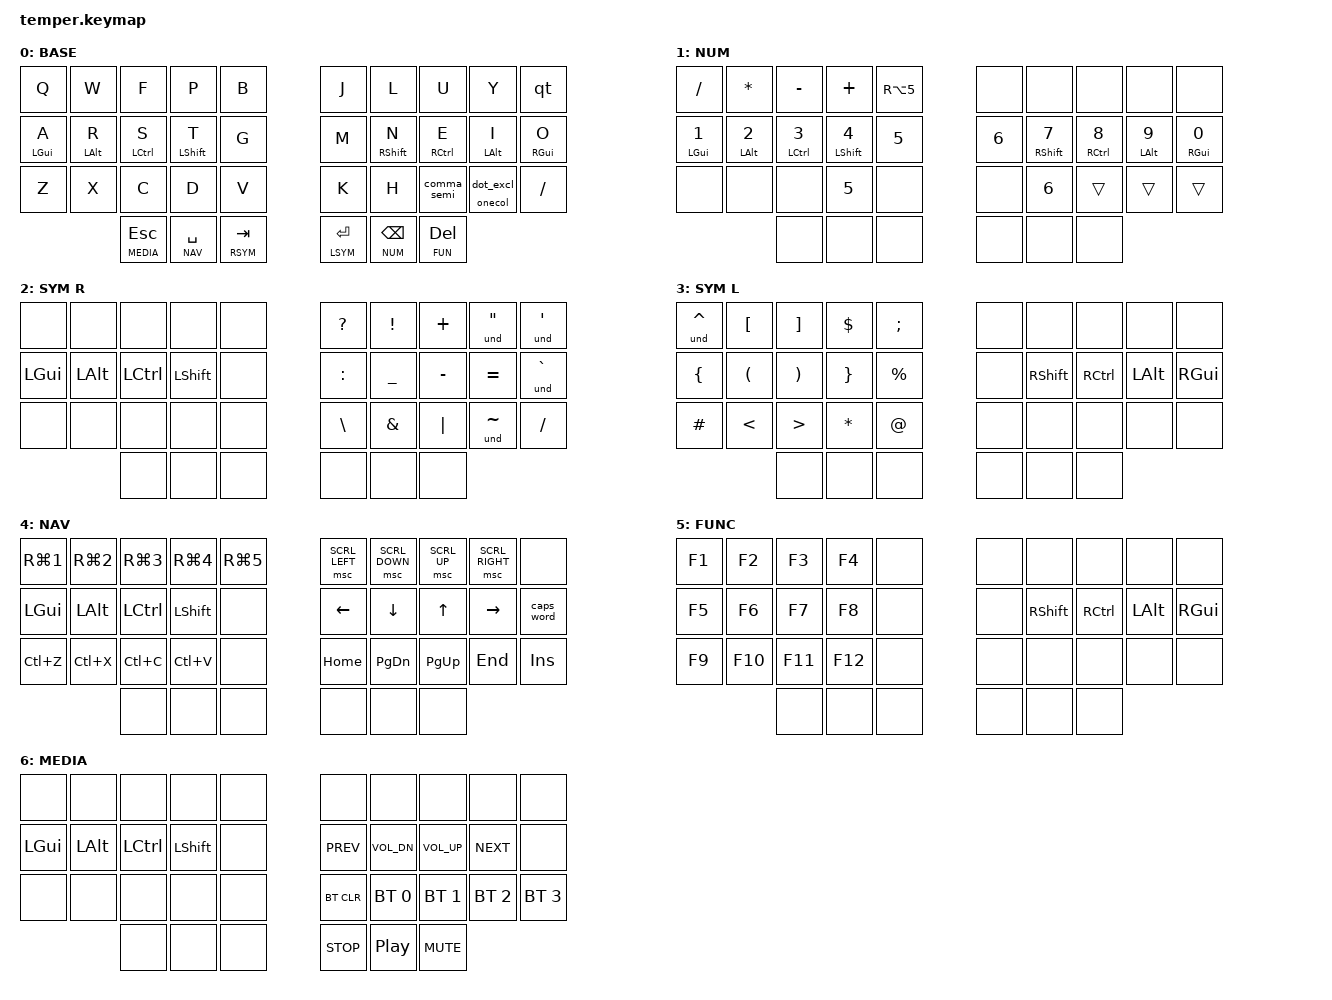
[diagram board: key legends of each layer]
/*
 * Copyright (c) 2020 The ZMK Contributors
 *
 * SPDX-License-Identifier: MIT
 */

#include <behaviors.dtsi>
#include <dt-bindings/zmk/keys.h>
#include <dt-bindings/zmk/bt.h>
#include <dt-bindings/zmk/outputs.h>
#include <dt-bindings/zmk/pointing.h>

#define DEFAULT 0
#define NUM 1
#define RSYM 2
#define LSYM 3
#define NAV 4
#define FUN 5
#define MEDIA 6

# define ______ &none
/ {
    /* conditional_layers { */
    /*     compatible = "zmk,conditional-layers"; */
    /*     tri_layer { */
    /*         if-layers = <NUM NAV>; */
    /*         then-layer = <FUN>; */
    /*     }; */
    /* }; */
    combos {
        compatible = "zmk,combos";
        combo_semi {
            timeout-ms = <30>;
            key-positions = <27 28>;
            bindings = <&kp SEMI>;
        };
        combo_agrv {
            timeout-ms = <30>;
            key-positions = <10 26>;
            bindings = <&engr A>;
        };
        combo_egrv {
            timeout-ms = <30>;
            key-positions = <17 23>;
            bindings = <&engr E>;
        };
        combo_eacute {
            timeout-ms = <30>;
            key-positions = <17 26>;
            bindings = <&eacute>;
        };
        combo_igrv {
            timeout-ms = <30>;
            key-positions = <18 23>;
            bindings = <&engr I>;
        };
        combo_ogrv {
            timeout-ms = <30>;
            key-positions = <19 23>;
            bindings = <&engr O>;
        };
        combo_ugrv {
            timeout-ms = <30>;
            key-positions = <7 23>;
            bindings = <&engr U>;
        };
    };
    macros {
        und: undead {
            compatible = "zmk,behavior-macro-one-param";
            wait-ms = <0>;
            tap-ms = <0>;
            #binding-cells = <1>;
            bindings
                = <&macro_tap &macro_param_1to1 &kp MACRO_PLACEHOLDER>
                , <&macro_tap &kp SPACE>
                ;
        };
        onecol: onecol {
            compatible = "zmk,behavior-macro";
            #binding-cells = <0>;
            bindings
                = <&macro_tap &kp COLON>
                , <&macro_release &kp COLON>
                ;
        };
        engr: engrave {
            compatible = "zmk,behavior-macro-one-param";
            #binding-cells = <1>;
            bindings
                = <&macro_tap &kp GRAVE>
                , <&macro_tap &macro_param_1to1 &kp MACRO_PLACEHOLDER>
                ;
        };
        eacute: eacute {
            compatible = "zmk,behavior-macro";
            #binding-cells = <0>;
            bindings
                = <&macro_tap &kp SQT>
                , <&macro_tap &kp E>
                ;
        };
    };
    behaviors {
        comma_semi: comma_semi {
            compatible = "zmk,behavior-mod-morph";
            #binding-cells = <0>;
            bindings = <&kp COMMA>, <&kp SEMI>;
            mods = <(MOD_LSFT)>;
        };
        multi_dot: multi_dot {
            compatible = "zmk,behavior-hold-tap";
            #binding-cells = <2>;
            flavor = "hold-preferred";
            quick-tap-ms = <0>;
            tapping-term-ms = <200>;
            bindings = <&onecol>, <&dot_excl>;
        };
        dot_excl: dot_excl {
            compatible = "zmk,behavior-mod-morph";
            #binding-cells = <0>;
            bindings = <&kp DOT>, <&kp EXCL>;
            mods = <(MOD_LSFT)>;
        };
        ltr: layer_tap_repeat {
          compatible = "zmk,behavior-hold-tap";
          #binding-cells = <2>;
          flavor = "tap-preferred";
          tapping-term-ms = <200>;
          require-prior-idle-ms = <200>;
          quick-tap-ms = <175>;
          bindings = <&mo>, <&kp>;
          display-name = "Layer-Tap-Repeat";
        };
        hml: home_row_mod_left {
            compatible = "zmk,behavior-hold-tap";
            #binding-cells = <2>;
            flavor = "balanced";
            require-prior-idle-ms = <150>;
            tapping-term-ms = <280>;
            quick-tap-ms = <175>;
            bindings = <&kp>, <&kp>;
            hold-trigger-key-positions = < 5 6 7 8 9 15 16 17 18 19 25 26 27 28 29 30 31 32 33 34 35 >; // List of keys on the right side of the keyboard
            hold-trigger-on-release;
        };
        hmr: home_row_mod_right {
            compatible = "zmk,behavior-hold-tap";
            #binding-cells = <2>;
            flavor = "balanced";
            require-prior-idle-ms = <150>;
            tapping-term-ms = <280>;
            quick-tap-ms = <175>;
            bindings = <&kp>, <&kp>;
            hold-trigger-key-positions = < 0 1 2 3 4 10 11 12 13 14 20 21 22 23 24 30 31 32 33 34 35 >; // List of keys on the left side of the keyboard
            hold-trigger-on-release;
        };
        qt: quotes {
            compatible = "zmk,behavior-tap-dance";
            #binding-cells = <0>;
            bindings = <&und SQT>, <&und DQT>;
            };
    };
        keymap {
                compatible = "zmk,keymap";

                default_layer {
                        display-name = "BASE";
                        bindings = <
//    ┌─────────────┬─────────────┬──────────────┬─────────────┬───────────────┐   ┌───────────────┬──────────────┬─────────────┬────────────────┬─────────────┐
//    │      Q      │      W      │      F       │      P      │       B       │   │       J       │      L       │      U      │       Y        │     &qt     │
//    ├─────────────┼─────────────┼──────────────┼─────────────┼───────────────┤   ├───────────────┼──────────────┼─────────────┼────────────────┼─────────────┤
//    │ &hml lgui A │ &hml lalt R │ &hml lctl S  │ &hml lsft T │       G       │   │       M       │ &hmr rsft N  │ &hmr rctl E │  &hmr lalt I   │ &hmr rgui O │
//    ├─────────────┼─────────────┼──────────────┼─────────────┼───────────────┤   ├───────────────┼──────────────┼─────────────┼────────────────┼─────────────┤
//    │      Z      │      X      │      C       │      D      │       V       │   │       K       │      H       │ &comma_semi │ &multi_dot 0 0 │      /      │
//    └─────────────┴─────────────┼──────────────┼─────────────┼───────────────┤   ├───────────────┼──────────────┼─────────────┼────────────────┴─────────────┘
//                                │ lt MEDIA esc │ lt NAV spc  │ lt rsftYM tab │   │ lt lsftYM ent │ ltr NUM bspc │ lt FUN del  │
//                                └──────────────┴─────────────┴───────────────┘   └───────────────┴──────────────┴─────────────┘
  &kp Q         &kp W         &kp F           &kp P           &kp B              &kp J          &kp L           &kp U          &kp Y            &qt
  &hml LGUI A   &hml LALT R   &hml LCTRL S    &hml LSHFT T    &kp G              &kp M          &hmr RSHFT N    &hmr RCTRL E   &hmr LALT I      &hmr RGUI O
  &kp Z         &kp X         &kp C           &kp D           &kp V              &kp K          &kp H           &comma_semi    &multi_dot 0 0   &kp SLASH
                              &lt MEDIA ESC   &lt NAV SPACE   &lt RSYM TAB       &lt LSYM RET   &ltr NUM BSPC   &lt FUN DEL
                        >;
                };
                num_layer {
                        display-name = "NUM";
                        bindings = <
//    ┌─────────────┬─────────────┬─────────────┬─────────────┬─────────┐   ┌────────┬─────────────┬─────────────┬─────────────┬─────────────┐
//    │      /      │      *      │      -      │      +      │ ralt(5) │   │ ______ │   ______    │   ______    │   ______    │   ______    │
//    ├─────────────┼─────────────┼─────────────┼─────────────┼─────────┤   ├────────┼─────────────┼─────────────┼─────────────┼─────────────┤
//    │ &hml lgui 1 │ &hml lalt 2 │ &hml lctl 3 │ &hml lsft 4 │    5    │   │   6    │ &hmr rsft 7 │ &hmr rctl 8 │ &hmr lalt 9 │ &hmr rgui 0 │
//    ├─────────────┼─────────────┼─────────────┼─────────────┼─────────┤   ├────────┼─────────────┼─────────────┼─────────────┼─────────────┤
//    │   ______    │   ______    │   ______    │      5      │ ______  │   │ ______ │      6      │             │             │             │
//    └─────────────┴─────────────┼─────────────┼─────────────┼─────────┤   ├────────┼─────────────┼─────────────┼─────────────┴─────────────┘
//                                │   ______    │   ______    │ ______  │   │ ______ │   ______    │   ______    │
//                                └─────────────┴─────────────┴─────────┘   └────────┴─────────────┴─────────────┘
  &kp SLASH      &kp STAR       &kp MINUS       &kp PLUS        &kp RA(N5)       ______   ______          ______          ______         ______
  &hml LGUI N1   &hml LALT N2   &hml LCTRL N3   &hml LSHFT N4   &kp N5           &kp N6   &hmr RSHFT N7   &hmr RCTRL N8   &hmr LALT N9   &hmr RGUI N0
  ______         ______         ______          &kp N5          ______           ______   &kp N6          &trans          &trans         &trans
                                ______          ______          ______           ______   ______          ______
                        >;
                };

                rsym_layer {
                        display-name = "SYM R";
                        bindings = <
//    ┌────────┬────────┬────────┬────────┬────────┐   ┌────────┬────────┬────────┬────────┬────────┐
//    │ ______ │ ______ │ ______ │ ______ │ ______ │   │   ?    │   !    │   +    │ &und " │ &und ' │
//    ├────────┼────────┼────────┼────────┼────────┤   ├────────┼────────┼────────┼────────┼────────┤
//    │  lgui  │  lalt  │  lctl  │  lsft  │ ______ │   │   :    │   _    │   -    │   =    │ &und ` │
//    ├────────┼────────┼────────┼────────┼────────┤   ├────────┼────────┼────────┼────────┼────────┤
//    │ ______ │ ______ │ ______ │ ______ │ ______ │   │   \    │   &    │   |    │ &und ~ │   /    │
//    └────────┴────────┼────────┼────────┼────────┤   ├────────┼────────┼────────┼────────┴────────┘
//                      │ ______ │ ______ │ ______ │   │ ______ │ ______ │ ______ │
//                      └────────┴────────┴────────┘   └────────┴────────┴────────┘
  ______     ______     ______      ______      ______       &kp QMARK   &kp EXCL    &kp PLUS    &und DQT     &und SQT
  &kp LGUI   &kp LALT   &kp LCTRL   &kp LSHFT   ______       &kp COLON   &kp UNDER   &kp MINUS   &kp EQUAL    &und GRAVE
  ______     ______     ______      ______      ______       &kp BSLH    &kp AMPS    &kp PIPE    &und TILDE   &kp SLASH
                        ______      ______      ______       ______      ______      ______
                        >;
                };

                lsym_layer {
                        display-name = "SYM L";
                        bindings = <
//    ┌────────┬───┬────────┬────────┬────────┐   ┌────────┬────────┬────────┬────────┬────────┐
//    │ &und ^ │ [ │   ]    │   $    │   ;    │   │ ______ │ ______ │ ______ │ ______ │ ______ │
//    ├────────┼───┼────────┼────────┼────────┤   ├────────┼────────┼────────┼────────┼────────┤
//    │   {    │ ( │   )    │   }    │   %    │   │ ______ │  rsft  │  rctl  │  lalt  │  rgui  │
//    ├────────┼───┼────────┼────────┼────────┤   ├────────┼────────┼────────┼────────┼────────┤
//    │   #    │ < │   >    │   *    │   @    │   │ ______ │ ______ │ ______ │ ______ │ ______ │
//    └────────┴───┼────────┼────────┼────────┤   ├────────┼────────┼────────┼────────┴────────┘
//                 │ ______ │ ______ │ ______ │   │ ______ │ ______ │ ______ │
//                 └────────┴────────┴────────┘   └────────┴────────┴────────┘
  &und CARET   &kp LBKT   &kp RBKT   &kp DLLR   &kp SEMI        ______   ______      ______      ______     ______
  &kp LBRC     &kp LPAR   &kp RPAR   &kp RBRC   &kp PRCNT       ______   &kp RSHFT   &kp RCTRL   &kp LALT   &kp RGUI
  &kp HASH     &kp LT     &kp GT     &kp STAR   &kp AT          ______   ______      ______      ______     ______
                          ______     ______     ______          ______   ______      ______
                        >;
                };

                nav_layer {
                        display-name = "NAV";
                        bindings = <
//    ┌─────────┬─────────┬─────────┬─────────┬─────────┐   ┌────────────────┬────────────────┬──────────────┬────────────────┬────────┐
//    │ rgui(1) │ rgui(2) │ rgui(3) │ rgui(4) │ rgui(5) │   │ &msc SCRL_left │ &msc SCRL_down │ &msc SCRL_up │ &msc SCRL_rght │ ______ │
//    ├─────────┼─────────┼─────────┼─────────┼─────────┤   ├────────────────┼────────────────┼──────────────┼────────────────┼────────┤
//    │  lgui   │  lalt   │  lctl   │  lsft   │ ______  │   │      left      │      down      │      up      │      rght      │ capsw  │
//    ├─────────┼─────────┼─────────┼─────────┼─────────┤   ├────────────────┼────────────────┼──────────────┼────────────────┼────────┤
//    │ lctl(Z) │ lctl(X) │ lctl(C) │ lctl(V) │ ______  │   │      home      │      pgdn      │     pgup     │      end       │  ins   │
//    └─────────┴─────────┼─────────┼─────────┼─────────┤   ├────────────────┼────────────────┼──────────────┼────────────────┴────────┘
//                        │ ______  │ ______  │ ______  │   │     ______     │     ______     │    ______    │
//                        └─────────┴─────────┴─────────┘   └────────────────┴────────────────┴──────────────┘
  &kp RG(N1)   &kp RG(N2)   &kp RG(N3)   &kp RG(N4)   &kp RG(N5)       &msc SCRL_LEFT   &msc SCRL_DOWN   &msc SCRL_UP   &msc SCRL_RIGHT   ______
  &kp LGUI     &kp LALT     &kp LCTRL    &kp LSHFT    ______           &kp LEFT         &kp DOWN         &kp UP         &kp RIGHT         &caps_word
  &kp LC(Z)    &kp LC(X)    &kp LC(C)    &kp LC(V)    ______           &kp HOME         &kp PG_DN        &kp PG_UP      &kp END           &kp INS
                            ______       ______       ______           ______           ______           ______
                        >;
                };

                fun_layer {
                        display-name = "FUNC";
                        bindings = <
//    ┌────┬─────┬────────┬────────┬────────┐   ┌────────┬────────┬────────┬────────┬────────┐
//    │ f1 │ f2  │   f3   │   f4   │ ______ │   │ ______ │ ______ │ ______ │ ______ │ ______ │
//    ├────┼─────┼────────┼────────┼────────┤   ├────────┼────────┼────────┼────────┼────────┤
//    │ f5 │ f6  │   f7   │   f8   │ ______ │   │ ______ │  rsft  │  rctl  │  lalt  │  rgui  │
//    ├────┼─────┼────────┼────────┼────────┤   ├────────┼────────┼────────┼────────┼────────┤
//    │ f9 │ f10 │  f11   │  f12   │ ______ │   │ ______ │ ______ │ ______ │ ______ │ ______ │
//    └────┴─────┼────────┼────────┼────────┤   ├────────┼────────┼────────┼────────┴────────┘
//               │ ______ │ ______ │ ______ │   │ ______ │ ______ │ ______ │
//               └────────┴────────┴────────┘   └────────┴────────┴────────┘
  &kp F1   &kp F2    &kp F3    &kp F4    ______       ______   ______      ______      ______     ______
  &kp F5   &kp F6    &kp F7    &kp F8    ______       ______   &kp RSHFT   &kp RCTRL   &kp LALT   &kp RGUI
  &kp F9   &kp F10   &kp F11   &kp F12   ______       ______   ______      ______      ______     ______
                     ______    ______    ______       ______   ______      ______
                        >;
                };
                media_layer {
                        display-name = "MEDIA";
                        bindings = <
//    ┌────────┬────────┬────────┬────────┬────────┐   ┌──────────┬──────────┬──────────┬──────────┬──────────┐
//    │ ______ │ ______ │ ______ │ ______ │ ______ │   │ bt_sel 4 │   &bt0   │   &bt1   │   &bt2   │   &bt3   │
//    ├────────┼────────┼────────┼────────┼────────┤   ├──────────┼──────────┼──────────┼──────────┼──────────┤
//    │  lgui  │  lalt  │  lctl  │  lsft  │ ______ │   │  bt_clr  │ bt_sel 0 │ bt_sel 1 │ bt_sel 2 │ bt_sel 3 │
//    ├────────┼────────┼────────┼────────┼────────┤   ├──────────┼──────────┼──────────┼──────────┼──────────┤
//    │ ______ │ ______ │ ______ │ ______ │ ______ │   │   prev   │   vold   │   volu   │   next   │  ______  │
//    └────────┴────────┼────────┼────────┼────────┤   ├──────────┼──────────┼──────────┼──────────┴──────────┘
//                      │ ______ │ ______ │ ______ │   │  K_STOP  │   play   │   mute   │
//                      └────────┴────────┴────────┘   └──────────┴──────────┴──────────┘
  ______     ______     ______      ______      ______       ______     ______     ______      ______      ______
  &kp LGUI   &kp LALT   &kp LCTRL   &kp LSHFT   ______       &kp C_PREV     &kp C_VOL_DN   &kp C_VOL_UP   &kp C_NEXT     ______
  ______     ______     ______      ______      ______       &bt BT_CLR     &bt BT_SEL 0   &bt BT_SEL 1   &bt BT_SEL 2   &bt BT_SEL 3
                        ______      ______      ______       &kp K_STOP     &kp C_PP       &kp C_MUTE
                        >;
                };
        };
};
